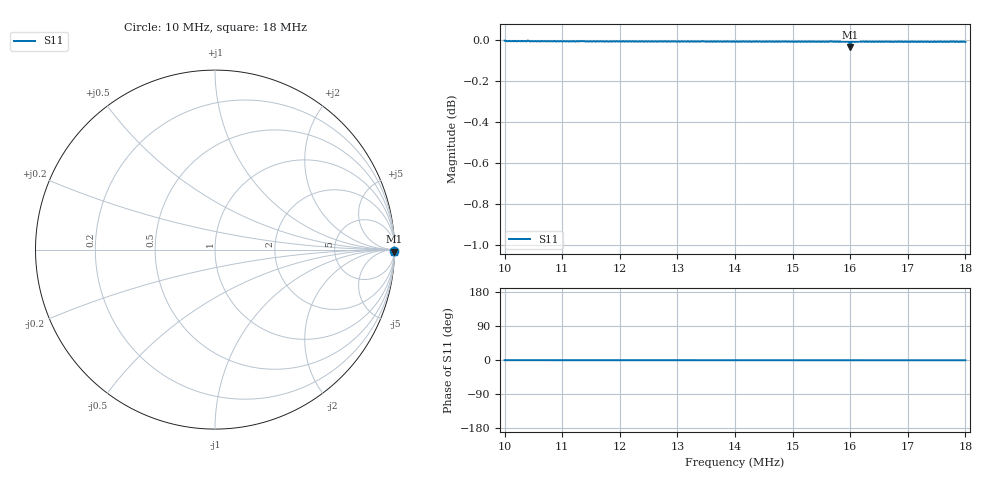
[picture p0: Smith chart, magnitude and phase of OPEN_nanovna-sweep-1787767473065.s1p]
! NanoVNA Web complex sweep
! Processing: original sample grid, no browser smoothing
# Hz S RI R 50
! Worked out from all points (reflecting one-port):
!   401 points, 10 MHz to 18 MHz, reference 50 ohm
!   lowest |S11| = 0.0 dB at 16 MHz (marker M1), VSWR 470.38, Z = 2.97e+03 - j7.81e+03 ohm
!   phase of S11 starts at -0 deg and turns -0 deg over the sweep
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1e7  0.9993 -0.00724
1.008e7  0.9992 -0.00731
1.038e7  0.9989 -0.00745
1.048e7  0.9991 -0.00764
1.1e7  0.9988 -0.00794
1.12e7  0.9991 -0.00802
1.134e7  0.9991 -0.00802
1.144e7  0.999 -0.00821
1.2e7  0.999 -0.00854
1.294e7  0.9988 -0.00919
1.3e7  0.9988 -0.00916
1.4e7  0.9987 -0.0101
1.5e7  0.9988 -0.0109
1.552e7  0.9988 -0.011
1.568e7  0.9989 -0.0113
1.576e7  0.9987 -0.0112
1.592e7  0.9986 -0.0113
1.594e7  0.9988 -0.0115
1.596e7  0.9986 -0.0115
1.598e7  0.9987 -0.0114
1.6e7  0.9957 -0.0111
1.604e7  0.9986 -0.0113
1.606e7  0.9988 -0.0117
1.608e7  0.9985 -0.0116
1.7e7  0.9986 -0.0121
1.746e7  0.9988 -0.0126
1.776e7  0.9987 -0.0129
1.8e7  0.9985 -0.0129
